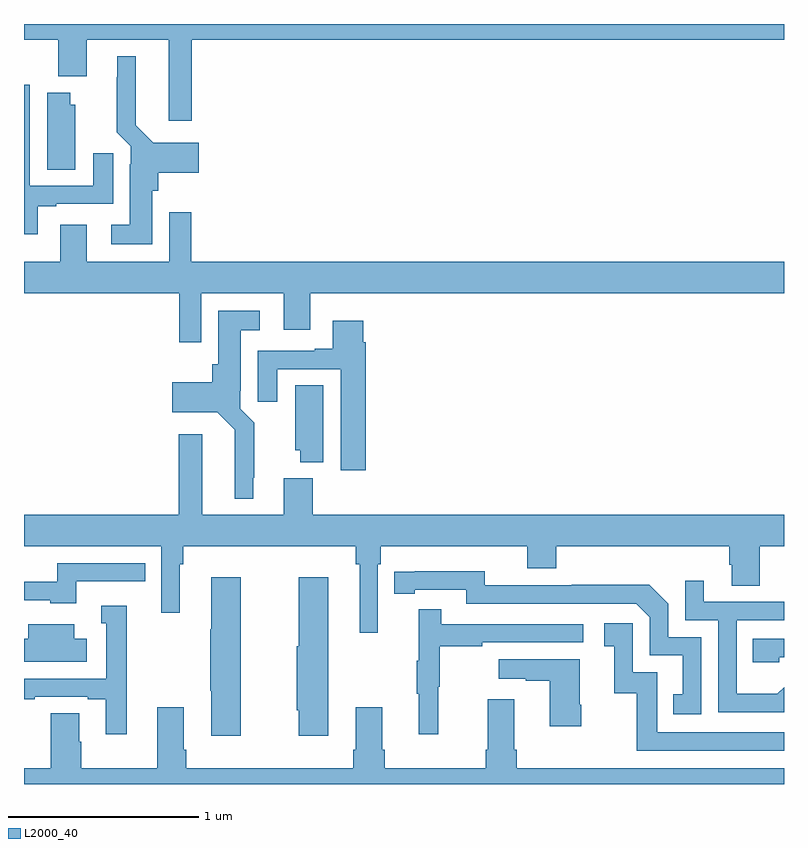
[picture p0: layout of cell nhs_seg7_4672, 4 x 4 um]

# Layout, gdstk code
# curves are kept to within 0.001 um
import gdstk
lib = gdstk.Library(unit=1e-6, precision=1e-09)
def P(c, l, *ps):  # polygons
    for p in ps: c.add(gdstk.Polygon(p, *l))
L2000_40 = (2000, 40)

nhs_seg7_4672 = lib.new_cell('nhs_seg7_4672')
P(nhs_seg7_4672, L2000_40, [(405.884,1033.916),(409,1033.916),(409,1034),(405,1034),(405,1033.916),(405.179,1033.916),(405.179,1033.724),(405.331,1033.724),(405.331,1033.916),(405.761,1033.916),(405.761,1033.491),(405.884,1033.491)],
  [(405.676,1033.122),(405.707,1033.122),(405.707,1033.217),(405.919,1033.217),(405.919,1033.375),(405.681,1033.375),(405.589,1033.468),(405.589,1033.831),(405.491,1033.831),(405.491,1033.721),(405.487,1033.721),(405.487,1033.43),(405.561,1033.356),(405.561,1033.262),(405.557,1033.262),(405.557,1032.943),(405.459,1032.943),(405.459,1032.842),(405.676,1032.842)],
  [(405.073,1033.041),(405.169,1033.041),(405.169,1033.053),(405.469,1033.053),(405.469,1033.321),(405.365,1033.321),(405.365,1033.149),(405.031,1033.149),(405.031,1033.68),(405,1033.68),(405,1032.894),(405.073,1032.894)],
  [(405.271,1033.575),(405.244,1033.575),(405.244,1033.639),(405.122,1033.639),(405.122,1033.234),(405.271,1033.234)],
  [(405.933,1032.584),(406.367,1032.584),(406.367,1032.39),(406.507,1032.39),(406.507,1032.584),(409,1032.584),(409,1032.748),(405.881,1032.748),(405.881,1033.009),(405.765,1033.009),(405.765,1032.748),(405.331,1032.748),(405.331,1032.943),(405.191,1032.943),(405.191,1032.748),(405,1032.748),(405,1032.584),(405.817,1032.584),(405.817,1032.324),(405.933,1032.324)],
  [(406.207,1031.611),(406.211,1031.611),(406.211,1031.902),(406.137,1031.976),(406.137,1032.07),(406.141,1032.07),(406.141,1032.389),(406.24,1032.389),(406.24,1032.49),(406.022,1032.49),(406.022,1032.21),(405.992,1032.21),(405.992,1032.115),(405.78,1032.115),(405.78,1031.957),(406.017,1031.957),(406.11,1031.864),(406.109,1031.501),(406.207,1031.501)],
  [(406.799,1032.326),(406.786,1032.326),(406.786,1032.439),(406.625,1032.439),(406.625,1032.292),(406.529,1032.292),(406.529,1032.279),(406.229,1032.279),(406.229,1032.012),(406.333,1032.012),(406.333,1032.183),(406.667,1032.183),(406.667,1031.652),(406.799,1031.652)],
  [(406.576,1032.098),(406.427,1032.098),(406.427,1031.757),(406.454,1031.757),(406.454,1031.693),(406.576,1031.693)],
  [(406.863,1031.156),(406.877,1031.156),(406.877,1031.252),(407.648,1031.252),(407.648,1031.135),(407.801,1031.135),(407.801,1031.252),(408.713,1031.252),(408.713,1031.154),(408.725,1031.154),(408.725,1031.044),(408.873,1031.044),(408.873,1031.252),(409,1031.252),(409,1031.416),(406.52,1031.416),(406.52,1031.608),(406.367,1031.608),(406.367,1031.416),(405.937,1031.416),(405.937,1031.842),(405.815,1031.842),(405.815,1031.416),(405,1031.416),(405,1031.252),(405.723,1031.252),(405.723,1030.902),(405.82,1030.902),(405.82,1031.156),(405.839,1031.156),(405.839,1031.252),(406.747,1031.252),(406.747,1031.156),(406.766,1031.156),(406.766,1030.797),(406.863,1030.797)],
  [(405.274,1031.067),(405.638,1031.067),(405.638,1031.163),(405.175,1031.163),(405.175,1031.064),(405,1031.064),(405,1030.968),(405.138,1030.968),(405.138,1030.952),(405.274,1030.952)],
  [(408.564,1030.773),(408.39,1030.773),(408.39,1030.95),(408.292,1031.048),(407.884,1031.048),(407.884,1031.046),(407.424,1031.046),(407.424,1031.119),(406.948,1031.118),(406.948,1031.002),(407.056,1031.002),(407.056,1031.022),(407.328,1031.022),(407.328,1030.95),(408.222,1030.95),(408.294,1030.878),(408.294,1030.677),(408.467,1030.677),(408.467,1030.473),(408.418,1030.473),(408.418,1030.368),(408.564,1030.368)],
  [(406.14,1031.089),(405.986,1031.089),(405.986,1030.814),(405.979,1030.814),(405.979,1030.492),(405.986,1030.492),(405.986,1030.254),(406.14,1030.254)],
  [(406.6,1031.089),(406.447,1031.089),(406.447,1030.725),(406.436,1030.725),(406.436,1030.389),(406.447,1030.389),(406.447,1030.254),(406.6,1030.254)],
  [(409,1030.51),(408.964,1030.474),(408.75,1030.474),(408.75,1030.863),(409,1030.863),(409,1030.959),(408.577,1030.959),(408.577,1031.071),(408.48,1031.071),(408.48,1030.863),(408.654,1030.863),(408.654,1030.377),(409,1030.377)],
  [(405.541,1030.939),(405.407,1030.939),(405.407,1030.845),(405.432,1030.845),(405.432,1030.554),(405,1030.554),(405,1030.446),(405.056,1030.446),(405.056,1030.458),(405.335,1030.458),(405.335,1030.446),(405.431,1030.446),(405.431,1030.263),(405.541,1030.263)],
  [(407.18,1030.512),(407.188,1030.512),(407.188,1030.726),(407.411,1030.726),(407.411,1030.746),(407.944,1030.746),(407.944,1030.842),(407.195,1030.842),(407.195,1030.921),(407.078,1030.921),(407.078,1030.649),(407.067,1030.649),(407.067,1030.475),(407.078,1030.475),(407.078,1030.263),(407.18,1030.263)],
  [(409,1030.272),(408.333,1030.272),(408.333,1030.587),(408.204,1030.587),(408.204,1030.846),(408.054,1030.846),(408.054,1030.725),(408.107,1030.725),(408.107,1030.478),(408.225,1030.478),(408.225,1030.176),(409,1030.176)],
  [(405.331,1030.765),(405.265,1030.765),(405.265,1030.84),(405.023,1030.84),(405.023,1030.765),(405,1030.765),(405,1030.643),(405.331,1030.643)],
  [(408.975,1030.668),(409,1030.668),(409,1030.764),(408.835,1030.764),(408.835,1030.641),(408.975,1030.641)],
  [(407.934,1030.417),(407.926,1030.417),(407.926,1030.657),(407.499,1030.657),(407.499,1030.553),(407.642,1030.553),(407.642,1030.543),(407.768,1030.543),(407.768,1030.305),(407.934,1030.305)],
  [(409,1030.084),(407.594,1030.084),(407.594,1030.18),(407.581,1030.18),(407.581,1030.447),(407.441,1030.447),(407.441,1030.18),(407.429,1030.18),(407.429,1030.084),(406.898,1030.084),(406.898,1030.18),(406.885,1030.18),(406.885,1030.405),(406.745,1030.405),(406.745,1030.18),(406.733,1030.18),(406.733,1030.084),(405.854,1030.084),(405.854,1030.18),(405.841,1030.18),(405.841,1030.405),(405.701,1030.405),(405.701,1030.084),(405.3,1030.084),(405.3,1030.223),(405.292,1030.223),(405.292,1030.373),(405.14,1030.373),(405.14,1030.084),(405,1030.084),(405,1030),(409,1030)])

lib.write_gds('nhs_seg7_4672.gds')
